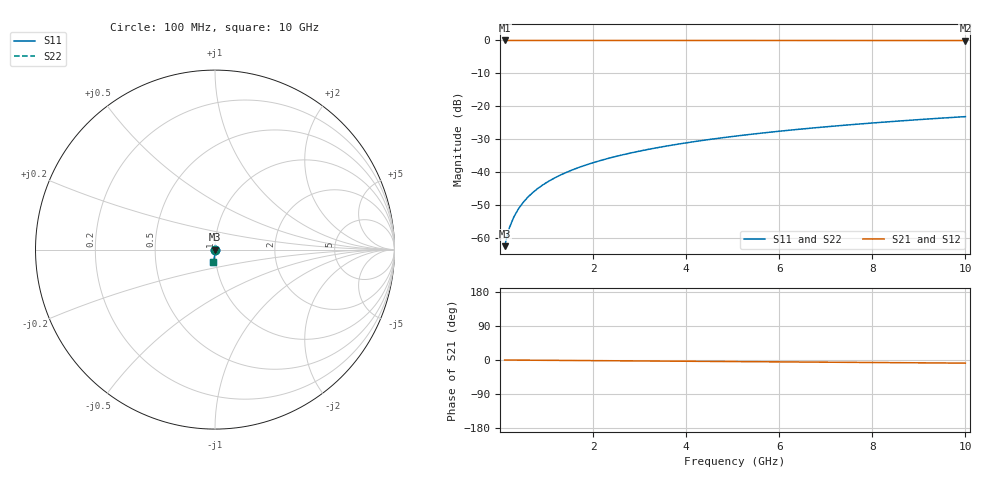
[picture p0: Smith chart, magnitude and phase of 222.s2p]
# Hz S RI R 50.00
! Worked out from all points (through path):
!   100 points, 100 MHz to 10 GHz, reference 50 ohm
!   highest |S21| = 0.00 dB at 100 MHz (marker M1); lowest = 0.0 dB at 10 GHz (marker M2)
!   group delay of S21, straight-line fit = 2.29 ps
!   lowest |S11| = -62.4 dB at 100 MHz (marker M3), VSWR 1.00, Z = 50 - j0.0699 ohm
!   |S11| at or under -10 dB: start of sweep to end of sweep
!   |S22| runs from -62.4 to -23.1 dB; largest |S21 - S12| = 0
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1e8  0.000294 -0.000699  0.9997 -0.00143  0.9997 -0.00143  0.000294 -0.000699
2e8  0.000292 -0.0014  0.9997 -0.00287  0.9997 -0.00287  0.000292 -0.0014
3e8  0.000288 -0.0021  0.9997 -0.0043  0.9997 -0.0043  0.000288 -0.0021
4e8  0.000281 -0.0028  0.9997 -0.00573  0.9997 -0.00573  0.000281 -0.0028
5e8  0.000272 -0.00349  0.9997 -0.00717  0.9997 -0.00717  0.000272 -0.00349
6e8  0.000261 -0.00419  0.9996 -0.0086  0.9996 -0.0086  0.000261 -0.00419
7e8  0.000248 -0.00489  0.9996 -0.01  0.9996 -0.01  0.000248 -0.00489
8e8  0.000232 -0.00559  0.9996 -0.0115  0.9996 -0.0115  0.000232 -0.00559
9e8  0.000215 -0.00629  0.9996 -0.0129  0.9996 -0.0129  0.000215 -0.00629
1.1e9  0.000174 -0.00769  0.9995 -0.0158  0.9995 -0.0158  0.000174 -0.00769
1.4e9  9.79e-05 -0.00979  0.9994 -0.0201  0.9994 -0.0201  9.79e-05 -0.00979
1.8e9  -3.24e-05 -0.0126  0.9993 -0.0258  0.9993 -0.0258  -3.24e-05 -0.0126
2.1e9  -0.000151 -0.0147  0.9991 -0.0301  0.9991 -0.0301  -0.000151 -0.0147
2.5e9  -0.000338 -0.0175  0.9989 -0.0358  0.9989 -0.0358  -0.000338 -0.0175
2.9e9  -0.000557 -0.0203  0.9986 -0.0416  0.9986 -0.0416  -0.000557 -0.0203
3.4e9  -0.000876 -0.0238  0.9982 -0.0487  0.9982 -0.0487  -0.000876 -0.0238
4.2e9  -0.00149 -0.0293  0.9974 -0.0602  0.9974 -0.0602  -0.00149 -0.0293
5.1e9  -0.00234 -0.0356  0.9963 -0.0731  0.9963 -0.0731  -0.00234 -0.0356
5.9e9  -0.00323 -0.0411  0.9952 -0.0845  0.9952 -0.0845  -0.00323 -0.0411
6.7e9  -0.00424 -0.0467  0.9939 -0.096  0.9939 -0.096  -0.00424 -0.0467
8.4e9  -0.00683 -0.0584  0.9906 -0.1202  0.9906 -0.1202  -0.00683 -0.0584
1e10  -0.00979 -0.0692  0.9868 -0.1429  0.9868 -0.1429  -0.00979 -0.0692
